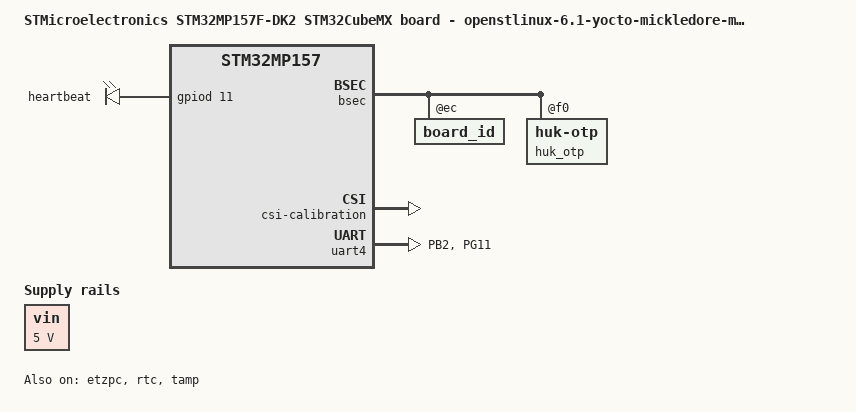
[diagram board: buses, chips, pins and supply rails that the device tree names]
// SPDX-License-Identifier: (GPL-2.0-or-later OR BSD-3-Clause)
/*
 * Copyright (C) 2024, STMicroelectronics - All Rights Reserved
 * Author: STM32CubeMX code generation for STMicroelectronics.
 */

/* For more information on Device Tree configuration, please refer to
 * https://wiki.st.com/stm32mpu/wiki/Category:Device_tree_configuration
 */

/dts-v1/;

#include <dt-bindings/pinctrl/stm32-pinfunc.h>
#include <dt-bindings/clock/stm32mp1-clksrc.h>
#include <dt-bindings/soc/stm32mp15-etzpc.h>
#include "stm32mp157.dtsi"
#include "stm32mp15xf.dtsi"
#include "stm33mp15xxac-pinctrl.dtsi"

/* USER CODE BEGIN includes */
#include "stm32mp15-pinctrl.dtsi"
#include <dt-bindings/gpio/stm32mp_gpio.h>
#include <dt-bindings/power/stm32mp1-power.h>
#include <dt-bindings/mfd/st,stpmic1.h>
//#include <dt-bindings/soc/stm32mp-provisioning.h>
#include <dt-bindings/tamper/st,stm32-tamp.h>
/* USER CODE END includes */

/ {
	model = "STMicroelectronics STM32MP157F-DK2 STM32CubeMX board - openstlinux-6.1-yocto-mickledore-mpu-v24.06.26";
	compatible = "st,stm32mp157f-bstinputtesting-mx", "st,stm32mp157f-dk2", "st,stm32mp157";

	/* !!! log : Warning - no DDR config found: 'memory' node not generated  !!! */

	/*
	memory@??? {
		reg = < ??? >;
	};
	*/

	reserved-memory {
		#address-cells = <1>;
		#size-cells = <1>;
		ranges;

		/* USER CODE BEGIN reserved-memory */

		mcusram1:mcuram@10000000{
			compatible = "shared-dma-pool";
			reg = <0x10000000 0x20000>;
			no-map;
		};

		mcusram2:mcuram@10020000{
			compatible = "shared-dma-pool";
			reg = <0x10020000 0x20000>;
			no-map;
		};

		mcusram3:mcuram@10040000{
			compatible = "shared-dma-pool";
			reg = <0x10040000 0x10000>;
			no-map;
		};

		retram:retram@38000000{
			compatible = "shared-dma-pool";
			reg = <0x38000000 0x10000>;
			no-map;
		};

		gpu_reserved:gpu@d4000000{
			reg = <0xd4000000 0x4000000>;
			no-map;
		};
		/* USER CODE END reserved-memory */
	};

	/* USER CODE BEGIN root */

	aliases{
		serial0 = &uart4;
		serial1 = &usart3;
		serial2 = &uart7;
		serial3 = &usart2;
	};

	led{
		compatible = "gpio-leds";

		led-blue{
			label = "heartbeat";
			gpios = <&gpiod 11 GPIO_ACTIVE_HIGH>;
			linux,default-trigger = "heartbeat";
			default-state = "off";
		};
	};

	shadow-prov{
		compatible = "st,provisioning";

		hw2_prov{
			nvmem-cells = <&hw2_otp>;
			st,shadow-value = <0x000001E0>;
			st,shadow-lock = <STICKY_LOCK_SR>;
		};
	};

	vin:vin{
		compatible = "regulator-fixed";
		regulator-name = "vin";
		regulator-min-microvolt = <5000000>;
		regulator-max-microvolt = <5000000>;
		regulator-always-on;
	};

	chosen{
		stdout-path = "serial0:115200n8";
	};
	/* USER CODE END root */

	clocks {
		/* USER CODE BEGIN clocks */
		/* USER CODE END clocks */

		clk_hsi: clk-hsi {
			clock-frequency = <64000000>;

			/* USER CODE BEGIN clk_hsi */
			/* USER CODE END clk_hsi */
		};
		clk_lse: clk-lse {
			status = "disabled";

			/* USER CODE BEGIN clk_lse */
			/* USER CODE END clk_lse */
		};
		clk_hse: clk-hse {
			clock-frequency = <24000000>;

			/* USER CODE BEGIN clk_hse */
			/* USER CODE END clk_hse */
		};
	};

}; /*root*/

/*Warning: the configuration of the secured GPIOs should be added in (addons) User Section*/
&pinctrl {
	rcc_pins_mx: rcc_mx-0 {
		pins {
			pinmux = <STM32_PINMUX('H', 0, ANALOG)>, /* RCC_OSC_IN */
					 <STM32_PINMUX('H', 1, ANALOG)>; /* RCC_OSC_OUT */
		};
	};

	/* USER CODE BEGIN pinctrl */

	uart4_pins_mx: uart4_mx-0 {
		pins1 {
			pinmux = <STM32_PINMUX('B', 2, AF8)>; /* UART4_RX */
			bias-disable;
		};
		pins2 {
			pinmux = <STM32_PINMUX('G', 11, AF6)>; /* UART4_TX */
			bias-disable;
			drive-push-pull;
			slew-rate = <0>;
		};
	};
	/* USER CODE END pinctrl */
};

&pinctrl_z {
	/* USER CODE BEGIN pinctrl_z */
	/* USER CODE END pinctrl_z */
};

&bsec{
	status = "okay";

	/* USER CODE BEGIN bsec */

	board_id:board_id@ec{
		reg = <0xec 0x4>;
		st,non-secure-otp;
	};

	huk_otp:huk-otp@f0{
		reg = <0xf0 0x10>;
	};
	/* USER CODE END bsec */
};

&etzpc{
	status = "okay";
	st,decprot = <
	/*"Non Secured" peripherals*/
	DECPROT(STM32MP1_ETZPC_DMA1_ID, DECPROT_NS_RW, DECPROT_UNLOCK)
	DECPROT(STM32MP1_ETZPC_DMAMUX_ID, DECPROT_NS_RW, DECPROT_UNLOCK)
	/*"Secured" peripherals*/
	DECPROT(STM32MP1_ETZPC_STGENC_ID, DECPROT_S_RW, DECPROT_UNLOCK)
	/*"Mcu Isolation" peripherals*/
	DECPROT(STM32MP1_ETZPC_ADC_ID, DECPROT_MCU_ISOLATION, DECPROT_UNLOCK)
	DECPROT(STM32MP1_ETZPC_DMA2_ID, DECPROT_MCU_ISOLATION, DECPROT_UNLOCK)
	DECPROT(STM32MP1_ETZPC_TIM3_ID, DECPROT_MCU_ISOLATION, DECPROT_UNLOCK)
	DECPROT(STM32MP1_ETZPC_TIM5_ID, DECPROT_MCU_ISOLATION, DECPROT_UNLOCK)

	/*Restriction: following IDs are not managed  - please to use User-Section if needed:
		  STM32MP1_ETZPC_SRAMx_ID  STM32MP1_ETZPC_RETRAM_ID  STM32MP1_ETZPC_BKPSRAM_ID*/

	/* USER CODE BEGIN etzpc_decprot */
		/*STM32CubeMX generates a basic and standard configuration for ETZPC.
		Additional device configurations can be added here if needed.
		"etzpc" node could be also overloaded in "addons" User-Section.*/
	/* USER CODE END etzpc_decprot */
	>;

	/* USER CODE BEGIN etzpc */
	/* USER CODE END etzpc */
};

&rcc{
	pinctrl-names = "default";
	pinctrl-0 = <&rcc_pins_mx>;
	status = "okay";

	/* USER CODE BEGIN rcc */
	/* USER CODE END rcc */

	st,clksrc = <
		CLK_CKPER_HSE
		CLK_STGEN_HSE
		CLK_ADC_CKPER
		CLK_MPU_PLL1P
		CLK_AXI_PLL2P
		CLK_MCU_PLL3P
		CLK_RTC_HSE
		CLK_MCO1_DISABLED
		CLK_MCO2_DISABLED
	>;
	st,clkdiv = <
		DIV(DIV_MPU, 1)
		DIV(DIV_AXI, 0)
		DIV(DIV_MCU, 0)
		DIV(DIV_APB1, 1)
		DIV(DIV_APB2, 1)
		DIV(DIV_APB3, 1)
		DIV(DIV_APB4, 1)
		DIV(DIV_APB5, 2)
		DIV(DIV_RTC, 23)
		DIV(DIV_MCO1, 0)
		DIV(DIV_MCO2, 0)
	>;
	st,pll_vco {
		pll2_vco_1066Mhz: pll2-vco-1066Mhz {
			src = < CLK_PLL12_HSE >;
			divmn = < 2 65 >;
			frac = < 0x1400 >;
		};
		pll3_vco_450Mhz: pll3-vco-450Mhz {
			src = < CLK_PLL3_HSI >;
			divmn = < 3 27 >;
			frac = < 0x400 >;
		};
		pll4_vco_96000000Mhz: pll4-vco-96000000Mhz {
			src = < 0 >;
			divmn = < 3 98 >;
		};
		/* USER CODE BEGIN rcc_st-pll_vco */
		/* USER CODE END rcc_st-pll_vco */
	};

	pll2:st,pll@1 {
		compatible = "st,stm32mp1-pll";
		reg = <1>;

		st,pll = < &pll2_cfg1 >;

		pll2_cfg1: pll2_cfg1 {
			st,pll_vco = < &pll2_vco_1066Mhz >;
			st,pll_div_pqr = < 1 0 0 >;
		};
		/* USER CODE BEGIN pll2 */
		/* USER CODE END pll2 */
	};

	pll3:st,pll@2 {
		compatible = "st,stm32mp1-pll";
		reg = <2>;

		st,pll = < &pll3_cfg1 >;

		pll3_cfg1: pll3_cfg1 {
			st,pll_vco = < &pll3_vco_450Mhz >;
			st,pll_div_pqr = < 4 1 36 >;
		};
		/* USER CODE BEGIN pll3 */
		/* USER CODE END pll3 */
	};

	pll4:st,pll@3 {
		compatible = "st,stm32mp1-pll";
		reg = <3>;

		st,pll = < &pll4_cfg1 >;

		pll4_cfg1: pll4_cfg1 {
			st,pll_vco = < &pll4_vco_96000000Mhz >;
			st,pll_div_pqr = < 5 7 7 >;
		};
		/* USER CODE BEGIN pll4 */
		/* USER CODE END pll4 */
	};

	/* USER CODE BEGIN rcc */
	/* USER CODE END rcc */
};

&rtc{
	status = "okay";

	/* USER CODE BEGIN rtc */
	/* USER CODE END rtc */
};

&tamp{
	status = "okay";

	/* USER CODE BEGIN tamp */
	st,backup-zones = <10 5 17>;
	st,tamp-passive-nb-sample = <4>;
	st,tamp-passive-sample-clk-div = <16384>;
	/* USER CODE END tamp */
};

/* USER CODE BEGIN addons */

&gpu{
	contiguous-area = <&gpu_reserved>;
};

&cpu0{
	cpu-supply = <&vddcore>;
};

&cpu1{
	cpu-supply = <&vddcore>;
};

&osc_calibration{

	csi-calibration{
		status = "okay";
	};

	hsi-calibration{
		status = "okay";
	};
};

&usbphyc_port0{
	phy-supply = <&vdd_usb>;
	st,tune-hs-dc-level = <2>;
	st,enable-fs-rftime-tuning;
	st,enable-hs-rftime-reduction;
	st,trim-hs-current = <15>;
	st,trim-hs-impedance = <1>;
	st,tune-squelch-level = <3>;
	st,tune-hs-rx-offset = <2>;
	st,no-lsfs-sc;
};

&usbphyc_port1{
	phy-supply = <&vdd_usb>;
	st,tune-hs-dc-level = <2>;
	st,enable-fs-rftime-tuning;
	st,enable-hs-rftime-reduction;
	st,trim-hs-current = <15>;
	st,trim-hs-impedance = <1>;
	st,tune-squelch-level = <3>;
	st,tune-hs-rx-offset = <2>;
	st,no-lsfs-sc;
};


&uart4{
	pinctrl-names = "default";
	pinctrl-0 = <&uart4_pins_mx>;
	status = "okay";
};
/* USER CODE END addons */

